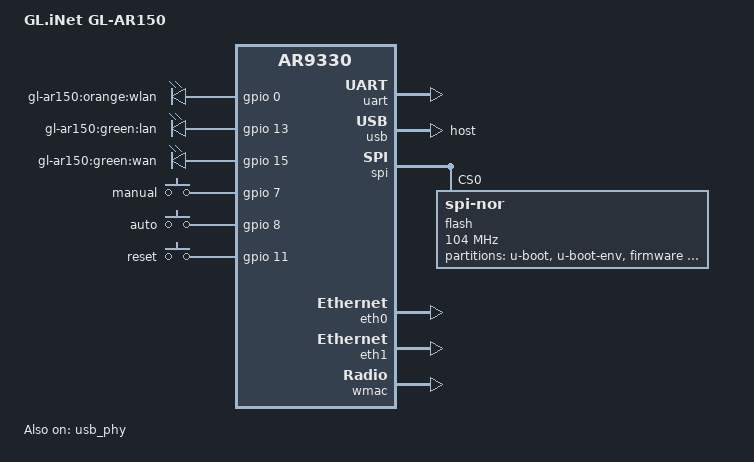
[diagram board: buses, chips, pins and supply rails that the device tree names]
// SPDX-License-Identifier: GPL-2.0-or-later OR MIT
/dts-v1/;

#include <dt-bindings/gpio/gpio.h>
#include <dt-bindings/input/input.h>

#include "ar9330.dtsi"

/ {
	model = "GL.iNet GL-AR150";
	compatible = "glinet,ar150", "qca,ar9330";

	aliases {
		serial0 = &uart;
		led-boot = &wlan;
		led-failsafe = &wlan;
		led-upgrade = &wlan;
	};

	leds {
		compatible = "gpio-leds";

		wlan: wlan {
			label = "gl-ar150:orange:wlan";
			gpios = <&gpio 0 GPIO_ACTIVE_HIGH>;
			linux,default-trigger = "phy0tpt";
		};

		lan {
			label = "gl-ar150:green:lan";
			gpios = <&gpio 13 GPIO_ACTIVE_HIGH>;
		};

		wan {
			label = "gl-ar150:green:wan";
			gpios = <&gpio 15 GPIO_ACTIVE_HIGH>;
		};
	};

	keys {
		compatible = "gpio-keys-polled";
		poll-interval = <100>;

		manual {
			label = "manual";
			linux,code = <BTN_7>;
			gpios = <&gpio 7 GPIO_ACTIVE_HIGH>;
		};

		auto {
			label = "auto";
			linux,code = <BTN_8>;
			gpios = <&gpio 8 GPIO_ACTIVE_HIGH>;
		};

		reset {
			label = "reset";
			linux,code = <KEY_RESTART>;
			gpios = <&gpio 11 GPIO_ACTIVE_HIGH>;
		};
	};
};

&uart {
	status = "okay";
};

&gpio {
	status = "okay";
};

&usb {
	dr_mode = "host";
	status = "okay";
};

&usb_phy {
	status = "okay";
	gpios = <&gpio 6 GPIO_ACTIVE_HIGH>;
};

&spi {
	num-chipselects = <1>;
	status = "okay";

	flash@0 {
		compatible = "jedec,spi-nor";
		spi-max-frequency = <104000000>;
		reg = <0>;

		partitions {
			compatible = "fixed-partitions";
			#address-cells = <1>;
			#size-cells = <1>;

			partition@0 {
				label = "u-boot";
				reg = <0x000000 0x040000>;
				read-only;
			};

			partition@1 {
				label = "u-boot-env";
				reg = <0x040000 0x010000>;
			};

			partition@2 {
				compatible = "denx,uimage";
				label = "firmware";
				reg = <0x050000 0xfa0000>;
			};

			art: partition@3 {
				label = "ART";
				reg = <0xff0000 0x010000>;
				read-only;
			};
		};
	};
};

&eth0 {
	status = "okay";

	mtd-mac-address = <&art 0x0>;
};

&eth1 {
	status = "okay";

	mtd-mac-address = <&art 0x0>;

	gmac-config {
		device = <&gmac>;

		switch-phy-addr-swap = <0>;
		switch-phy-swap = <0>;
	};
};

&wmac {
	status = "okay";
	mtd-cal-data = <&art 0x1000>;
	mtd-mac-address = <&art 0x0>;
};
